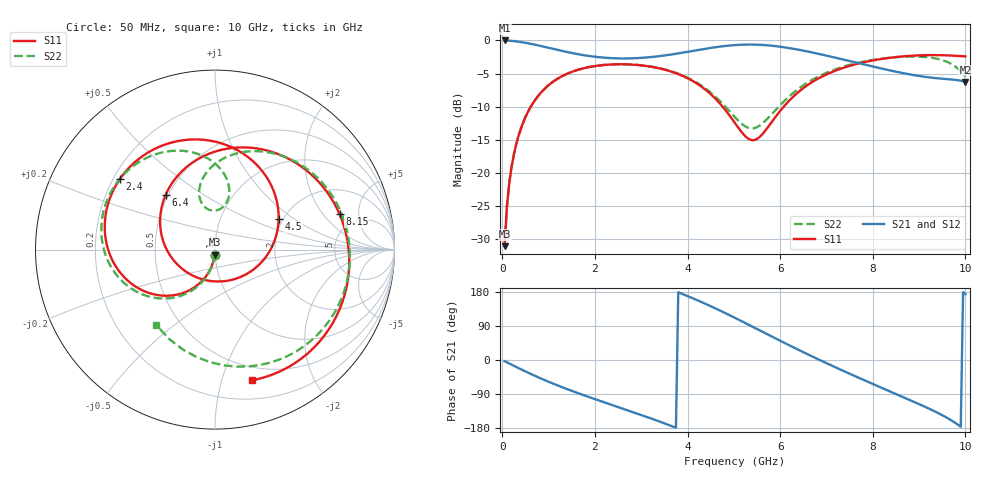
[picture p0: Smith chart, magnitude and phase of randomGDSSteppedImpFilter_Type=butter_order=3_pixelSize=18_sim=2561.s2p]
! freq	dB(S11)	phase(S11)	dB(S12)	phase(S12)
!  dB(S21)	phase(S21)	dB(S22)	phase(S22)
!S-par simulation data
#  GHz  S  DB  R 50
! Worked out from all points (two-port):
!   200 points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, 50 MHz to 10 GHz, reference 50 ohm
!   highest |S21| = 0.00 dB at 50 MHz (marker M1); lowest = -6.3 dB at 10 GHz (marker M2)
!   |S21| within 3 dB of the highest: start of sweep to 7.439 GHz
!   lowest |S11| = -31.0 dB at 50 MHz (marker M3), VSWR 1.06, Z = 49.8 - j2.8 ohm
!   |S11| at or under -10 dB: start of sweep to 615.4 MHz; 4.76 GHz to 6.075 GHz (1.315 GHz wide, 24.3 % of centre)
!   |S22| runs from -31.0 to -2.4 dB; largest |S21 - S12| = 0
!   S11 on the Smith chart (normalised r, x): 50 MHz: 1.00, -0.06; 2.4 GHz: 0.23, +0.31; 4.5 GHz: 1.90, +0.77; 6.4 GHz: 0.48, +0.35; 8.15 GHz: 3.60, +2.98; 10 GHz: 0.37, -1.26
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0.05  -31.02 -93.3  -0.00 -3.1  -0.00 -3.1  -31.02 -93.1
0.1  -25.02 -96.6  -0.02 -6.2  -0.02 -6.2  -25.02 -96.2
0.2  -19.08 -103.1  -0.07 -12.3  -0.07 -12.3  -19.08 -102.3
0.5  -11.56 -121.7  -0.36 -30.2  -0.36 -30.2  -11.56 -119.7
1.05  -6.46 -152.7  -1.19 -60.0  -1.19 -60.0  -6.46 -148.3
1.75  -4.21 173.0  -2.21 -92.5  -2.21 -92.5  -4.20 -179.1
2.4  -3.61 143.6  -2.69 -119.9  -2.69 -119.9  -3.60 155.8
3.4  -4.22 95.9  -2.36 -162.5  -2.36 -162.5  -4.19 118.9
4  -5.69 61.5  -1.72 168.8  -1.72 168.8  -5.61 97.0
4.5  -8.09 25.8  -1.13 142.0  -1.13 142.0  -7.86 81.1
5.05  -12.71 -32.5  -0.69 109.7  -0.69 109.7  -11.77 77.1
5.35  -14.96 -84.7  -0.62 91.2  -0.62 91.2  -13.25 89.2
5.65  -13.86 -142.5  -0.70 72.5  -0.70 72.5  -12.32 103.2
6.4  -7.75 132.2  -1.40 26.6  -1.40 26.6  -7.27 96.2
6.7  -6.24 108.7  -1.83 8.9  -1.83 8.9  -5.91 85.2
7.4  -4.05 60.9  -2.94 -30.7  -2.94 -30.7  -3.89 55.4
8.15  -2.84 15.9  -4.18 -71.2  -4.18 -71.2  -2.78 20.5
8.35  -2.63 4.8  -4.49 -81.8  -4.49 -81.8  -2.62 10.7
8.85  -2.30 -21.8  -5.19 -108.3  -5.19 -108.3  -2.43 -15.4
9.25  -2.21 -41.6  -5.60 -130.4  -5.60 -130.4  -2.59 -40.0
9.7  -2.28 -62.2  -5.89 -159.5  -5.89 -159.5  -3.56 -79.4
10  -2.41 -74.0  -6.26 174.0  -6.26 174.0  -5.47 -127.9
